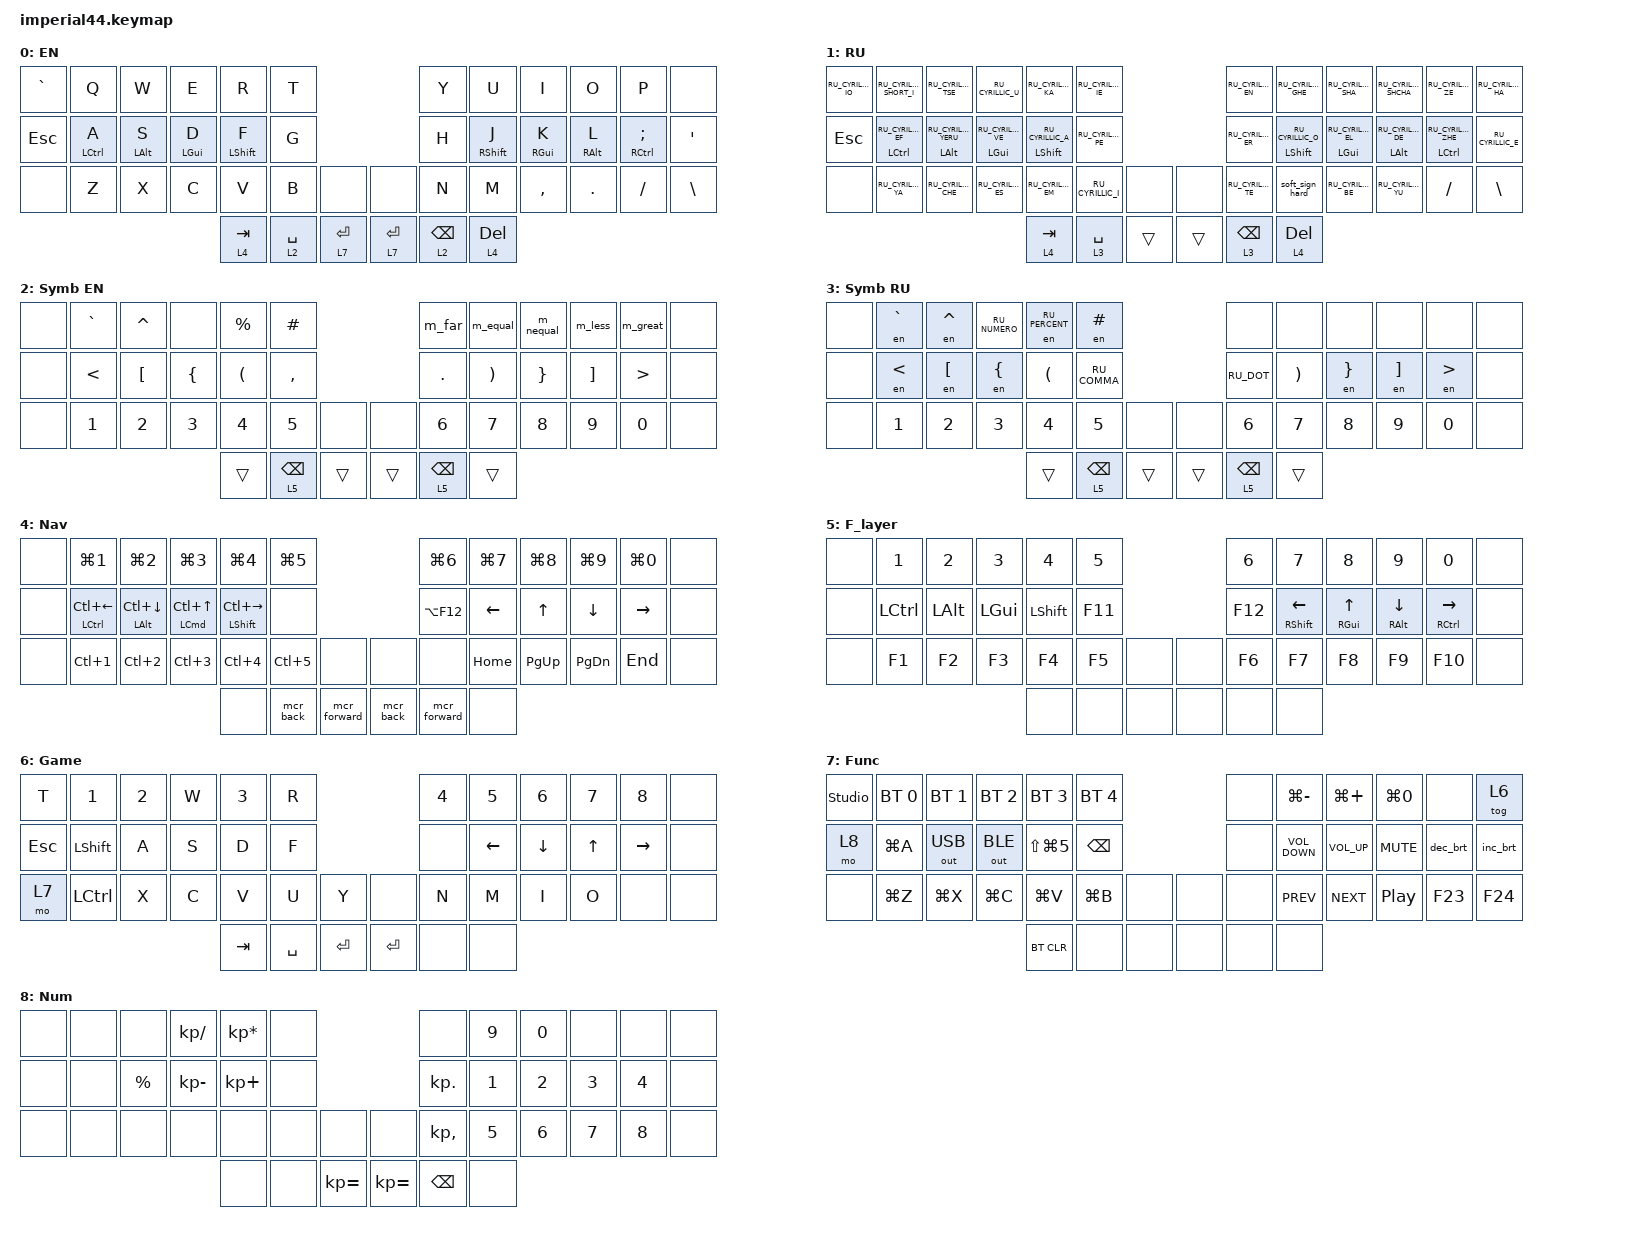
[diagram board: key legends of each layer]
#include "keys_ru.h"
#include <behaviors.dtsi>
#include <dt-bindings/zmk/bt.h>
#include <dt-bindings/zmk/keys.h>
#include <dt-bindings/zmk/outputs.h>

&mt {
    tapping-term-ms = <170>;
    quick-tap-ms = <100>;
    flavor = "tap-preferred";
};

/ {
    behaviors {
        hrml: hrml {
            compatible = "zmk,behavior-hold-tap";
            label = "HRML";
            bindings = <&kp>, <&kp>;

            #binding-cells = <2>;
            hold-trigger-key-positions = <15 14 13 16>;
            quick-tap-ms = <175>;
            tapping-term-ms = <180>;
            flavor = "balanced";
            hold-trigger-on-release;
            require-prior-idle-ms = <100>;
        };

        hrmr: hrmr {
            compatible = "zmk,behavior-hold-tap";
            label = "HRMR";
            bindings = <&kp>, <&kp>;

            #binding-cells = <2>;
            hold-trigger-key-positions = <21 22 19 20>;
            quick-tap-ms = <175>;
            tapping-term-ms = <180>;
            flavor = "balanced";
            hold-trigger-on-release;
            require-prior-idle-ms = <100>;
        };

        ie_io: ie_io {
            compatible = "zmk,behavior-tap-dance";
            label = "IE_IO";
            #binding-cells = <0>;
            bindings = <&kp RU_CYRILLIC_IE>, <&kp RU_CYRILLIC_IO>;

            tapping-term-ms = <200>;
        };

        soft_sign_hard: soft_sign_hard {
            compatible = "zmk,behavior-tap-dance";
            label = "SOFT_SIGN_HARD";
            #binding-cells = <0>;
            bindings = <&kp RU_CYRILLIC_SOFT_SIGN>, <&kp RU_CYRILLIC_HARD_SIGN>;

            tapping-term-ms = <250>;
        };

        en_qmark_excl: en_qmark_excl {
            compatible = "zmk,behavior-tap-dance";
            label = "EN_QMARK_EXCL";
            #binding-cells = <0>;
            bindings = <&kp QMARK>, <&kp EXCL>;

            tapping-term-ms = <200>;
        };

        ru_qmark_excl: ru_qmark_excl {
            compatible = "zmk,behavior-tap-dance";
            label = "RU_QMARK_EXCL";
            #binding-cells = <0>;
            bindings = <&kp RU_QUESTION>, <&kp RU_EXCLAMATION>;

            tapping-term-ms = <200>;
        };

        mrh_en_qmark_excl: mrh_en_qmark_excl {
            compatible = "zmk,behavior-mod-morph";
            label = "MRH_EN_QMARK_EXCL";
            bindings = <&kp QMARK>, <&kp EXCL>;

            #binding-cells = <0>;
            mods = <(MOD_RGUI|MOD_LGUI)>;
        };

        mrh_ru_qmark_excl: mrh_ru_qmark_excl {
            compatible = "zmk,behavior-mod-morph";
            label = "MRH_RU_QMARK_EXCL";
            bindings = <&kp RU_QUESTION>, <&kp RU_EXCLAMATION>;

            #binding-cells = <0>;
            mods = <(MOD_RGUI|MOD_LGUI)>;
        };

        en_pipe_ampersand: en_pipe_ampersand {
            compatible = "zmk,behavior-tap-dance";
            label = "EN_PIPE_AMPERSAND";
            #binding-cells = <0>;
            bindings = <&kp PIPE>, <&kp AMPERSAND>;

            tapping-term-ms = <200>;
        };

        ru_pipe_ampersand: ru_pipe_ampersand {
            compatible = "zmk,behavior-tap-dance";
            label = "RU_PIPE_AMPERSAND";
            #binding-cells = <0>;
            bindings = <&en PIPE>, <&en AMPERSAND>;

            tapping-term-ms = <200>;
        };

        mrh_en_pipe_ampersand: mrh_en_pipe_ampersand {
            compatible = "zmk,behavior-mod-morph";
            label = "MRH_EN_PIPE_AMPERSAND";
            bindings = <&kp PIPE>, <&kp AMPERSAND>;

            #binding-cells = <0>;
            mods = <(MOD_RGUI|MOD_LGUI)>;
        };

        mrh_ru_pipe_ampersand: mrh_ru_pipe_ampersand {
            compatible = "zmk,behavior-mod-morph";
            label = "MRH_RU_PIPE_AMPERSAND";
            bindings = <&en PIPE>, <&en AMPERSAND>;

            #binding-cells = <0>;
            mods = <(MOD_RGUI|MOD_LGUI)>;
        };

        en_at_dollar: en_at_dollar {
            compatible = "zmk,behavior-tap-dance";
            label = "EN_AT_DOLLAR";
            #binding-cells = <0>;
            bindings = <&kp AT>, <&kp DOLLAR>;

            tapping-term-ms = <200>;
        };

        ru_at_dollar: ru_at_dollar {
            compatible = "zmk,behavior-tap-dance";
            label = "RU_AT_DOLLAR";
            #binding-cells = <0>;
            bindings = <&en AT>, <&en DOLLAR>;

            tapping-term-ms = <200>;
        };

        mrh_en_at_dlr: mrh_en_at_dlr {
            compatible = "zmk,behavior-mod-morph";
            label = "MRH_EN_AT_DLR";
            bindings = <&kp AT>, <&kp DOLLAR>;

            #binding-cells = <0>;
            mods = <(MOD_RGUI|MOD_LGUI)>;
        };

        mrh_ru_at_dlr: mrh_ru_at_dlr {
            compatible = "zmk,behavior-mod-morph";
            label = "MRH_RU_AT_DLR";
            bindings = <&en AT>, <&en DOLLAR>;

            #binding-cells = <0>;
            mods = <(MOD_RGUI|MOD_LGUI)>;
        };
    };

    macros {
        layer_en: layer_en {
            compatible = "zmk,behavior-macro";
            #binding-cells = <0>;
            bindings = <&to 0 &lang_to_en>;
            label = "LAYER_EN";
            wait-ms = <0>;
            tap-ms = <50>;
        };

        layer_ru: layer_ru {
            compatible = "zmk,behavior-macro";
            #binding-cells = <0>;
            bindings = <&to 1 &lang_to_ru>;
            label = "LAYER_RU";
            wait-ms = <0>;
            tap-ms = <50>;
        };

        lang_to_en: leng_to_en {
            compatible = "zmk,behavior-macro";
            #binding-cells = <0>;
            bindings = <&kp LC(LS(N1))>;
            label = "LENG_TO_EN";
            wait-ms = <0>;
            tap-ms = <50>;
        };

        lang_to_ru: leng_to_ru {
            compatible = "zmk,behavior-macro";
            #binding-cells = <0>;
            bindings = <&kp LC(LS(N2))>;
            label = "LENG_TO_RU";
            wait-ms = <0>;
            tap-ms = <50>;
        };

        en: en {
            compatible = "zmk,behavior-macro-one-param";
            #binding-cells = <1>;
            bindings =
                <&lang_to_en>,
                <&macro_press>,
                <&macro_param_1to1 &kp MACRO_PLACEHOLDER>,
                <&macro_pause_for_release>,
                <&macro_release>,
                <&macro_param_1to1 &kp MACRO_PLACEHOLDER>,
                <&macro_tap>,
                <&lang_to_ru>;

            label = "EN";
            wait-ms = <0>;
            tap-ms = <50>;
        };

        mcr_forward: mcr_forward {
            compatible = "zmk,behavior-macro";
            #binding-cells = <0>;
            bindings =
                <&macro_press>,
                <&kp LEFT_ALT &kp LEFT_COMMAND>,
                <&macro_tap>,
                <&kp RIGHT_ARROW>,
                <&macro_release>,
                <&kp LEFT_ALT &kp LEFT_COMMAND>;

            label = "MCR_FORWARD";
            wait-ms = <10>;
            tap-ms = <10>;
        };

        mcr_back: mcr_back {
            compatible = "zmk,behavior-macro";
            #binding-cells = <0>;
            bindings =
                <&macro_press>,
                <&kp LEFT_ALT &kp LEFT_COMMAND>,
                <&macro_tap>,
                <&kp LEFT_ARROW>,
                <&macro_release>,
                <&kp LEFT_ALT &kp LEFT_COMMAND>;

            label = "MCR_BACK";
            wait-ms = <10>;
            tap-ms = <10>;
        };

        inc_brt: sd_up {
            compatible = "zmk,behavior-macro";
            #binding-cells = <0>;
            bindings =
                <&macro_press>,
                <&kp LEFT_ALT &kp LEFT_COMMAND &kp LEFT_SHIFT>,
                <&macro_tap>,
                <&kp N1>,
                <&macro_release>,
                <&kp LEFT_ALT &kp LEFT_COMMAND &kp LEFT_SHIFT>;

            label = "SD_UP";
            wait-ms = <10>;
            tap-ms = <10>;
        };

        dec_brt: dec_brt {
            compatible = "zmk,behavior-macro";
            #binding-cells = <0>;
            bindings =
                <&macro_press>,
                <&kp LEFT_ALT &kp LEFT_COMMAND &kp LEFT_SHIFT>,
                <&macro_tap>,
                <&kp N0>,
                <&macro_release>,
                <&kp LEFT_ALT &kp LEFT_COMMAND &kp LEFT_SHIFT>;

            label = "DEC_BRT";
            wait-ms = <10>;
            tap-ms = <10>;
        };

        m_equal: m_equal {
            compatible = "zmk,behavior-macro";
            #binding-cells = <0>;
            bindings = <&kp EQUAL &kp EQUAL &kp EQUAL>;
            label = "M_EQUAL";
        };

        m_nequal: m_nequal {
            compatible = "zmk,behavior-macro";
            #binding-cells = <0>;
            bindings = <&kp EXCL &kp EQUAL &kp EQUAL>;
            label = "M_NEQUAL";
        };

        m_or: m_or {
            compatible = "zmk,behavior-macro";
            #binding-cells = <0>;
            bindings = <&kp PIPE &kp PIPE>;
            label = "M_OR";
        };

        m_and: m_and {
            compatible = "zmk,behavior-macro";
            #binding-cells = <0>;
            bindings = <&kp AMPS &kp AMPS>;
            label = "M_AND";
        };

        m_great: m_great {
            compatible = "zmk,behavior-macro";
            #binding-cells = <0>;
            bindings = <&kp GT &kp EQUAL>;
            label = "M_GREAT";
        };

        m_less: m_less {
            compatible = "zmk,behavior-macro";
            #binding-cells = <0>;
            bindings = <&kp LT &kp EQUAL>;
            label = "M_LESS";
        };

        m_far: m_far {
            compatible = "zmk,behavior-macro";
            #binding-cells = <0>;
            bindings = <&kp EQUAL &kp GT>;
            label = "M_FAR";
        };
    };

    combos {
        compatible = "zmk,combos";

        switch_to_en {
            bindings = <&layer_en>;
            key-positions = <27 28>;
            layers = <1 0>;
        };

        switch_to_ru {
            bindings = <&layer_ru>;
            key-positions = <33 34>;
            layers = <0 1>;
        };

        capsword {
            bindings = <&caps_word>;
            key-positions = <16 19>;
            layers = <0 1>;
        };

        en_qmark {
            bindings = <&kp QMARK>;
            key-positions = <7 8>;
            layers = <0>;
        };

        ru_qmark {
            bindings = <&kp RU_QUESTION>;
            key-positions = <7 8>;
            layers = <1>;
        };

        excl {
            bindings = <&kp EXCL>;
            key-positions = <4 3>;
            layers = <0 1 2 3>;
        };

        en_colon {
            bindings = <&kp COLON>;
            key-positions = <34 35>;
            layers = <0>;
        };

        ru_colon {
            bindings = <&kp RU_COLON>;
            key-positions = <35 34>;
            layers = <1>;
        };

        en_semicolon {
            bindings = <&kp SEMICOLON>;
            key-positions = <26 27>;
            layers = <0>;
        };

        ru_semicolon {
            bindings = <&kp RU_SEMICOLON>;
            key-positions = <26 27>;
            layers = <1>;
        };

        en_at {
            bindings = <&kp AT>;
            key-positions = <16 3>;
            layers = <0>;
        };

        ru_at {
            bindings = <&en AT>;
            key-positions = <3 16>;
            layers = <1>;
        };

        en_ampersand {
            bindings = <&kp AMPERSAND>;
            key-positions = <8 21>;
            layers = <0>;
        };

        ru_ampersand {
            bindings = <&en AMPERSAND>;
            key-positions = <8 21>;
            layers = <1>;
        };

        en_pipe {
            bindings = <&kp PIPE>;
            key-positions = <8 19>;
            layers = <0>;
        };

        ru_pipe {
            bindings = <&en PIPE>;
            key-positions = <8 19>;
            layers = <1>;
        };

        en_dollar {
            bindings = <&kp DOLLAR>;
            key-positions = <3 14>;
            layers = <0>;
        };

        ru_dollar {
            bindings = <&en DOLLAR>;
            key-positions = <3 14>;
            layers = <1>;
        };

        equal {
            bindings = <&kp EQUAL>;
            key-positions = <7 6>;
            layers = <0 1>;
        };

        en_double_quotes {
            bindings = <&kp DOUBLE_QUOTES>;
            key-positions = <17 16>;
            layers = <0>;
        };

        ru_double_quotes {
            bindings = <&kp RU_DOUBLE_QUOTES>;
            key-positions = <17 16>;
            layers = <1>;
        };

        en_sqt {
            bindings = <&kp SQT>;
            key-positions = <19 18>;
            layers = <0>;
        };

        ru_sqt {
            bindings = <&en SQT>;
            key-positions = <19 18>;
            layers = <1>;
        };

        minus {
            bindings = <&kp MINUS>;
            key-positions = <8 9>;
            layers = <0 1>;
        };

        under {
            bindings = <&kp UNDER>;
            key-positions = <2 3>;
            layers = <0 1>;
        };

        plus {
            bindings = <&kp PLUS>;
            key-positions = <5 4>;
            layers = <0 1>;
        };

        comma {
            bindings = <&kp RU_COMMA>;
            key-positions = <33 35>;
            layers = <1>;
        };
    };

    keymap {
        compatible = "zmk,keymap";

        base_en {
            bindings = <
&kp GRAVE  &kp Q        &kp W       &kp E       &kp R        &kp T                                    &kp Y            &kp U        &kp I       &kp O       &kp P           &none
&kp ESC    &mt LCTRL A  &mt LALT S  &mt LGUI D  &mt LSHFT F  &kp G                                    &kp H            &mt RSHFT J  &mt RGUI K  &mt RALT L  &mt RCTRL SEMI  &kp SINGLE_QUOTE
&none      &kp Z        &kp X       &kp C       &kp V        &kp B        &none          &none        &kp N            &kp M        &kp COMMA   &kp DOT     &kp SLASH       &kp BACKSLASH
                                                &lt 4 TAB    &lt 2 SPACE  &lt 7 ENTER    &lt 7 ENTER  &lt 2 BACKSPACE  &lt 4 DEL
            >;

            display-name = "EN";
        };

        base_ru {
            display-name = "RU";
            bindings = <
&kp RU_CYRILLIC_IO  &kp RU_CYRILLIC_SHORT_I   &kp RU_CYRILLIC_TSE        &kp RU_CYRILLIC_U        &kp RU_CYRILLIC_KA       &kp RU_CYRILLIC_IE                    &kp RU_CYRILLIC_EN  &kp RU_CYRILLIC_GHE      &kp RU_CYRILLIC_SHA      &kp RU_CYRILLIC_SHCHA    &kp RU_CYRILLIC_ZE         &kp RU_CYRILLIC_HA
&kp ESC             &mt LCTRL RU_CYRILLIC_EF  &mt LALT RU_CYRILLIC_YERU  &mt LGUI RU_CYRILLIC_VE  &mt LSHFT RU_CYRILLIC_A  &kp RU_CYRILLIC_PE                    &kp RU_CYRILLIC_ER  &mt LSHFT RU_CYRILLIC_O  &mt LGUI RU_CYRILLIC_EL  &mt LALT RU_CYRILLIC_DE  &mt LCTRL RU_CYRILLIC_ZHE  &kp RU_CYRILLIC_E
&none               &kp RU_CYRILLIC_YA        &kp RU_CYRILLIC_CHE        &kp RU_CYRILLIC_ES       &kp RU_CYRILLIC_EM       &kp RU_CYRILLIC_I   &none     &none   &kp RU_CYRILLIC_TE  &soft_sign_hard          &kp RU_CYRILLIC_BE       &kp RU_CYRILLIC_YU       &kp SLASH                  &kp BACKSLASH
                                                                                                  &lt 4 TAB                &lt 3 SPACE         &trans    &trans  &lt 3 BACKSPACE     &lt 4 DELETE
            >;
        };

        symb_en {
            bindings = <
&none  &kp GRAVE      &kp CARET         &none           &kp PRCNT  &kp HASH                           &m_far           &m_equal  &m_nequal        &m_less            &m_great          &none
&none  &kp LESS_THAN  &kp LEFT_BRACKET  &kp LEFT_BRACE  &kp LPAR   &kp COMMA                          &kp DOT          &kp RPAR  &kp RIGHT_BRACE  &kp RIGHT_BRACKET  &kp GREATER_THAN  &none
&none  &kp N1         &kp N2            &kp N3          &kp N4     &kp N5           &none     &none   &kp N6           &kp N7    &kp N8           &kp N9             &kp N0            &none
                                                        &trans     &lt 5 BACKSPACE  &trans    &trans  &lt 5 BACKSPACE  &trans
            >;

            display-name = "Symb EN";
        };

        symb_ru {
            display-name = "Symb RU";
            bindings = <
&none  &en GRAVE      &en CARET         &kp RU_NUMERO   &en RU_PERCENT  &en HASH                           &none            &none     &none            &none              &none             &none
&none  &en LESS_THAN  &en LEFT_BRACKET  &en LEFT_BRACE  &kp LPAR        &kp RU_COMMA                       &kp RU_DOT       &kp RPAR  &en RIGHT_BRACE  &en RIGHT_BRACKET  &en GREATER_THAN  &none
&none  &kp N1         &kp N2            &kp N3          &kp N4          &kp N5           &none     &none   &kp N6           &kp N7    &kp N8           &kp N9             &kp N0            &none
                                                        &trans          &lt 5 BACKSPACE  &trans    &trans  &lt 5 BACKSPACE  &trans
            >;
        };

        nav {
            bindings = <
&none  &kp LG(N1)          &kp LG(N2)             &kp LG(N3)       &kp LG(N4)                &kp LG(N5)                             &kp LG(N6)    &kp LG(N7)  &kp LG(N8)  &kp LG(N9)  &kp LG(N0)  &none
&none  &mt LCTRL LC(LEFT)  &mt LEFT_ALT LC(DOWN)  &mt LCMD LC(UP)  &mt LEFT_SHIFT LC(RIGHT)  &none                                  &kp LA(F12)   &kp LEFT    &kp UP      &kp DOWN    &kp RIGHT   &none
&none  &kp LC(N1)          &kp LC(N2)             &kp LC(N3)       &kp LC(N4)                &kp LC(N5)  &none           &none      &none         &kp HOME    &kp PG_UP   &kp PG_DN   &kp END     &none
                                                                   &none                     &mcr_back   &mcr_forward    &mcr_back  &mcr_forward  &none
            >;

            display-name = "Nav";
        };

        F_layer {
            bindings = <
&none  &kp N1            &kp N2        &kp N3        &kp N4          &kp N5                   &kp N6   &kp N7                &kp N8            &kp N9              &kp N0                   &none
&none  &kp LEFT_CONTROL  &kp LEFT_ALT  &kp LEFT_GUI  &kp LEFT_SHIFT  &kp F11                  &kp F12  &mt RIGHT_SHIFT LEFT  &mt RIGHT_GUI UP  &mt RIGHT_ALT DOWN  &mt RIGHT_CONTROL RIGHT  &none
&none  &kp F1            &kp F2        &kp F3        &kp F4          &kp F5   &none    &none  &kp F6   &kp F7                &kp F8            &kp F9              &kp F10                  &none
                                                     &none           &none    &none    &none  &none    &none
            >;

            label = "F_layer";
        };

        game {
            bindings = <
&kp T    &kp N1          &kp N2  &kp W  &kp NUMBER_3  &kp R                              &kp N4  &kp N5          &kp N6          &kp N7        &kp N8           &none
&kp ESC  &kp LEFT_SHIFT  &kp A   &kp S  &kp D         &kp F                              &none   &kp LEFT_ARROW  &kp DOWN_ARROW  &kp UP_ARROW  &kp RIGHT_ARROW  &none
&mo 7    &kp LCTRL       &kp X   &kp C  &kp V         &kp U      &kp Y        &none      &kp N   &kp M           &kp I           &kp O         &none            &none
                                        &kp TAB       &kp SPACE  &kp ENTER    &kp ENTER  &none   &none
            >;

            label = "Game";
        };

        Func {
            label = "Func";
            bindings = <
&studio_unlock  &bt BT_SEL 0  &bt BT_SEL 1  &bt BT_SEL 2  &bt BT_SEL 3          &bt BT_SEL 4                   &none  &kp LG(MINUS)      &kp LG(PLUS)     &kp LG(N0)  &none     &tog 6
&mo 8           &kp LG(A)     &out OUT_USB  &out OUT_BLE  &kp LS(LG(NUMBER_5))  &kp BACKSPACE                  &none  &kp C_VOLUME_DOWN  &kp C_VOLUME_UP  &kp C_MUTE  &dec_brt  &inc_brt
&none           &kp LG(Z)     &kp LG(X)     &kp LG(C)     &kp LG(V)             &kp LG(B)      &none    &none  &none  &kp C_PREV         &kp C_NEXT       &kp C_PP    &kp F23   &kp F24
                                                          &bt BT_CLR            &none          &none    &none  &none  &none
            >;
        };

        Num {
            bindings = <
&none  &none  &none        &kp KP_SLASH  &kp KP_MULTIPLY  &none                                &none          &kp N9  &kp N0  &none   &none   &none
&none  &none  &kp PERCENT  &kp KP_MINUS  &kp KP_PLUS      &none                                &kp KP_DOT     &kp N1  &kp N2  &kp N3  &kp N4  &none
&none  &none  &none        &none         &none            &none  &none           &none         &kp KP_COMMA   &kp N5  &kp N6  &kp N7  &kp N8  &none
                                         &none            &none  &kp KP_EQUAL    &kp KP_EQUAL  &kp BACKSPACE  &none
            >;

            label = "Num";
        };
    };
};
